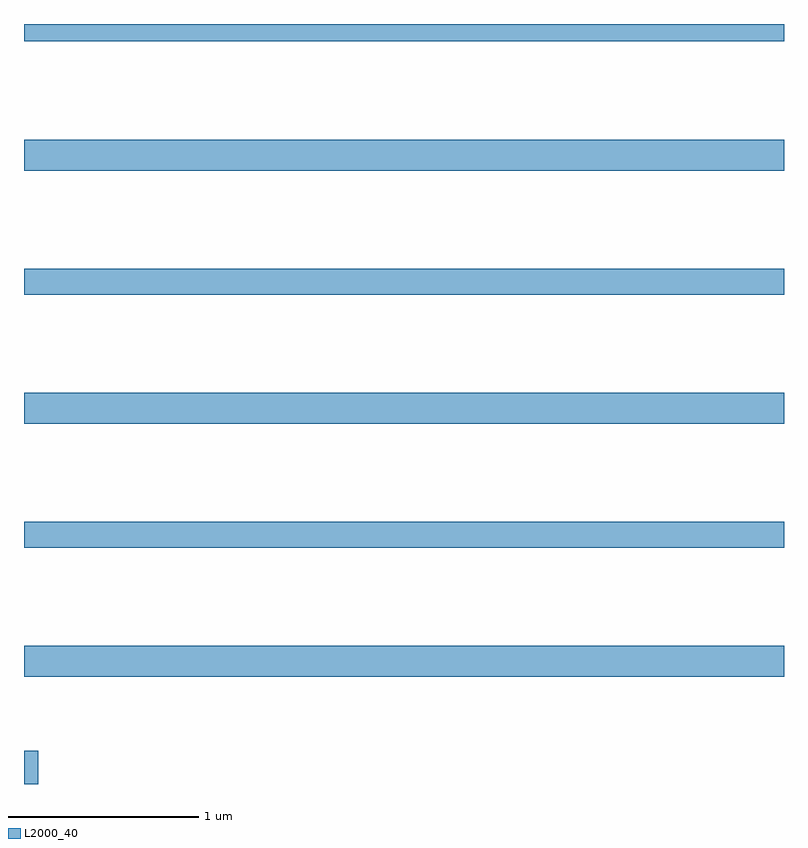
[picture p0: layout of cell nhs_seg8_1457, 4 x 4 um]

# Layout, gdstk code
import gdstk
lib = gdstk.Library(unit=1e-6, precision=1e-09)
def R(c, l, rs):  # rectangles x0, y0, x1, y1
    for r in rs: c.add(gdstk.rectangle(r[:2], r[2:], *l))
def A(c, l, x, y, w, h, nx, ny, dx, dy):  # array of equal rectangles
    R(c, l, [(x+i*dx, y+j*dy, x+i*dx+w, y+j*dy+h) for i in range(nx) for j in range(ny)])
L2000_40 = (2000, 40)

nhs_seg8_1457 = lib.new_cell('nhs_seg8_1457')
A(nhs_seg8_1457, L2000_40, 203, 1152.464, 4, 0.164, 1, 3, 0, 1.332)
R(nhs_seg8_1457, L2000_40, [(203,1151.9,203.075,1152.076), (203,1153.144,207,1153.28), (203,1154.476,207,1154.612), (203,1155.808,207,1155.9)])

lib.write_gds('nhs_seg8_1457.gds')
